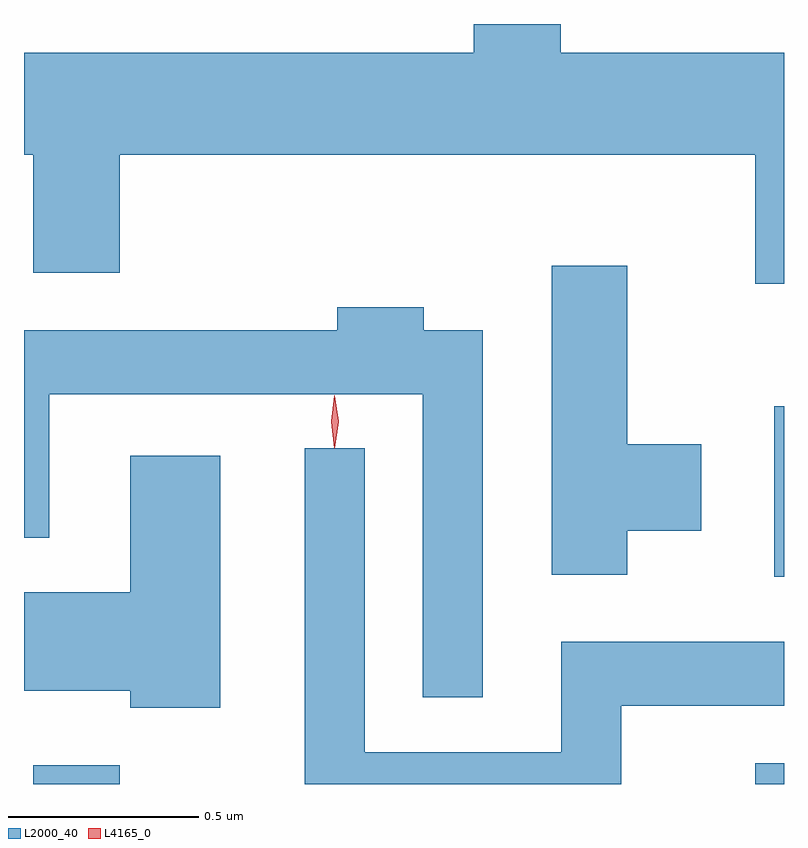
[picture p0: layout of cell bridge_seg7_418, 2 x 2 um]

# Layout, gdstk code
import gdstk
lib = gdstk.Library(unit=1e-6, precision=1e-09)
def R(c, l, rs):  # rectangles x0, y0, x1, y1
    for r in rs: c.add(gdstk.rectangle(r[:2], r[2:], *l))
def P(c, l, *ps):  # polygons
    for p in ps: c.add(gdstk.Polygon(p, *l))
L2000_40 = (2000, 40)
L4165_0 = (4165, 0)

bridge_seg7_418 = lib.new_cell('bridge_seg7_418')
R(bridge_seg7_418, L2000_40, [(1070.481,1719.32,1070.709,1719.369), (1072.381,1719.32,1072.457,1719.374), (1072.431,1719.866,1072.457,1720.314)])
P(bridge_seg7_418, L2000_40, [(1072.457,1721.244),(1071.869,1721.244),(1071.869,1721.32),(1071.641,1721.32),(1071.641,1721.244),(1070.457,1721.244),(1070.457,1720.976),(1070.481,1720.976),(1070.481,1720.666),(1070.709,1720.666),(1070.709,1720.976),(1072.381,1720.976),(1072.381,1720.636),(1072.457,1720.636)],
  [(1072.044,1719.986),(1072.239,1719.986),(1072.239,1720.214),(1072.044,1720.214),(1072.044,1720.684),(1071.846,1720.684),(1071.846,1719.871),(1072.044,1719.871)],
  [(1071.664,1720.514),(1071.509,1720.514),(1071.509,1720.574),(1071.281,1720.574),(1071.281,1720.514),(1070.457,1720.514),(1070.457,1719.968),(1070.524,1719.968),(1070.524,1720.346),(1071.506,1720.346),(1071.506,1719.548),(1071.664,1719.548)],
  [(1072.029,1719.526),(1072.457,1719.526),(1072.457,1719.694),(1071.871,1719.694),(1071.871,1719.404),(1071.354,1719.404),(1071.354,1720.203),(1071.196,1720.203),(1071.196,1719.32),(1072.029,1719.32)],
  [(1070.974,1720.184),(1070.736,1720.184),(1070.736,1719.824),(1070.457,1719.824),(1070.457,1719.566),(1070.736,1719.566),(1070.736,1719.521),(1070.974,1719.521)])
P(bridge_seg7_418, L4165_0, [(1071.275,1720.203),(1071.274,1720.204),(1071.265,1720.273),(1071.274,1720.342),(1071.275,1720.343),(1071.275,1720.342),(1071.285,1720.273),(1071.275,1720.204)],
  [(1071.274,1720.207),(1071.265,1720.274),(1071.274,1720.34),(1071.275,1720.34),(1071.275,1720.34),(1071.285,1720.274),(1071.275,1720.207),(1071.275,1720.207)])

lib.write_gds('bridge_seg7_418.gds')
